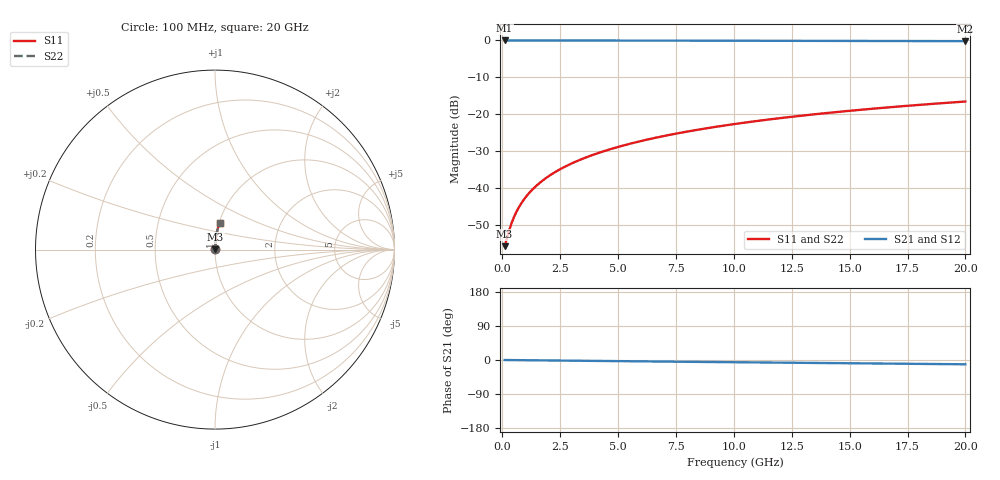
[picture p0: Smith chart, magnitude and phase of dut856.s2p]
! Touchstone file exported from HFSS 2024.1.0
!  File:  C:/UserFiles/LocalFiles/RDL_TSV_Batchsim/temp_RDL_top_856_1779855906.aedt
!  Generated:  12:27:31 PM May 27, 2026
!  Design:  RDL_top
!  Project:  temp_RDL_top_856_1779855906
!  Setup:  Setup1
!  Solution:  Sweep
! Variables:
!  dtsv = 10.80580581um
!  hbump = 3um
!  htsv = 68um
!  ldown = 100um
!  lrdl = 113.82um
!  p = 40
!  p1 = 42.85um
!  rhole = 1um
!  t = 450um
!  tdown = 3.915915916um
!  trdl = 2.42um
!  wdown = 15.38538539um
!  wrdl = 14.63um
# GHz S MA R 50.000000
! Terminal data exported
! Port[1] = Box2_T1
! Port[2] = Box2_T2
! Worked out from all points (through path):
!   200 points, 100 MHz to 20 GHz, reference 50 ohm
!   highest |S21| = -0.01 dB at 100 MHz (marker M1); lowest = -0.2 dB at 20 GHz (marker M2)
!   group delay of S21, straight-line fit = 1.57 ps
!   lowest |S11| = -55.8 dB at 100 MHz (marker M3), VSWR 1.00, Z = 50.1 + j0.0749 ohm
!   |S11| at or under -10 dB: start of sweep to end of sweep
!   |S22| runs from -55.8 to -16.6 dB; largest |S21 - S12| = 2e-15
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0.1  0.001618 27.5  0.9986 -0.1  0.9986 -0.1  0.001618 27.5
! Gamma 0 0 0 0
! Port Impedance 50 0 50 0
0.3  0.002671 56.5  0.9985 -0.2  0.9985 -0.2  0.002671 56.5
0.4  0.003315 63.1  0.9985 -0.3  0.9985 -0.3  0.003315 63.1
0.5  0.003983 67.4  0.9984 -0.3  0.9984 -0.3  0.003983 67.4
0.6  0.004662 70.5  0.9984 -0.4  0.9984 -0.4  0.004662 70.5
0.7  0.005345 72.8  0.9984 -0.4  0.9984 -0.4  0.005345 72.8
0.9  0.006719 76.0  0.9983 -0.6  0.9983 -0.6  0.006719 76.0
1.2  0.008793 79.0  0.9982 -0.7  0.9982 -0.7  0.008793 79.0
1.4  0.01018 80.3  0.9981 -0.9  0.9981 -0.9  0.01018 80.3
1.7  0.01228 81.8  0.998 -1.0  0.998 -1.0  0.01228 81.8
2.2  0.01579 83.4  0.9978 -1.3  0.9978 -1.3  0.01579 83.4
2.8  0.02005 84.6  0.9975 -1.7  0.9975 -1.7  0.02005 84.6
3.5  0.02505 85.4  0.997 -2.1  0.997 -2.1  0.02505 85.4
4.2  0.03009 85.9  0.9965 -2.5  0.9965 -2.5  0.03009 85.9
5  0.03591 86.2  0.9959 -3.0  0.9959 -3.0  0.03591 86.2
5.9  0.04251 86.3  0.9951 -3.5  0.9951 -3.5  0.04251 86.3
6.8  0.04917 86.3  0.9942 -4.1  0.9942 -4.1  0.04917 86.3
8.3  0.06037 86.0  0.9926 -4.9  0.9926 -4.9  0.06037 86.0
10.1  0.07393 85.3  0.9905 -5.9  0.9905 -5.9  0.07393 85.3
13.4  0.09891 83.8  0.9864 -7.8  0.9864 -7.8  0.09891 83.8
16.7  0.1238 82.0  0.982 -9.6  0.982 -9.6  0.1238 82.0
20  0.1484 80.2  0.9773 -11.3  0.9773 -11.3  0.1483 80.2
